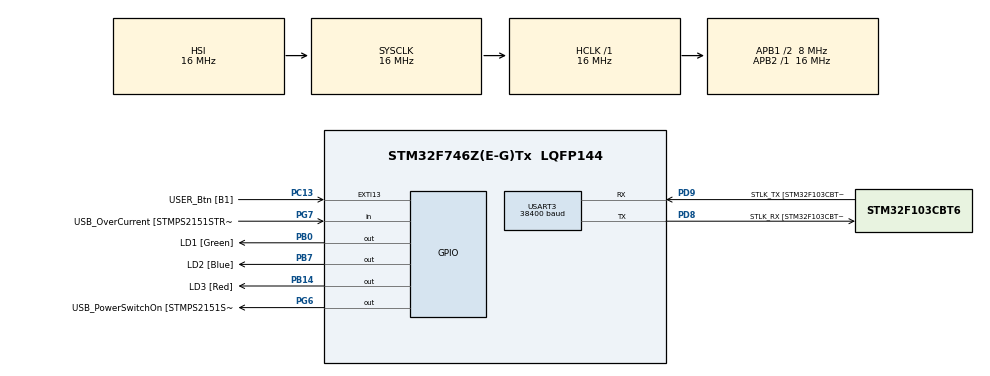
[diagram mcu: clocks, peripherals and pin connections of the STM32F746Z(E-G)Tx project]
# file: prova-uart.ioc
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Mcu.Family=STM32F7
Mcu.Name=STM32F746Z(E-G)Tx
Mcu.Package=LQFP144
NVIC.PriorityGroup=NVIC_PRIORITYGROUP_4
PA1.GPIO_Label=RMII_REF_CLK [LAN8742A-CZ-TR_REFCLK0]
PA1.Signal=ETH_REF_CLK
PA10.GPIO_Label=USB_ID
PA10.Signal=USB_OTG_FS_ID
PA11.GPIO_Label=USB_DM
PA11.Signal=USB_OTG_FS_DM
PA12.GPIO_Label=USB_DP
PA12.Signal=USB_OTG_FS_DP
PA13.GPIO_Label=TMS
PA13.Signal=SYS_JTMS-SWDIO
PA14.GPIO_Label=TCK
PA14.Signal=SYS_JTCK-SWCLK
PA2.GPIO_Label=RMII_MDIO [LAN8742A-CZ-TR_MDIO]
PA2.Signal=ETH_MDIO
PA7.GPIO_Label=RMII_CRS_DV [LAN8742A-CZ-TR_CRS_DV]
PA7.Signal=ETH_CRS_DV
PA8.GPIO_Label=USB_SOF [TP1]
PA8.Signal=USB_OTG_FS_SOF
PA9.GPIO_Label=USB_VBUS
PA9.Signal=USB_OTG_FS_VBUS
PB0.GPIO_Label=LD1 [Green]
PB0.Signal=GPIO_Output
PB13.GPIO_Label=RMII_TXD1 [LAN8742A-CZ-TR_TXD1]
PB13.Signal=ETH_TXD1
PB14.GPIO_Label=LD3 [Red]
PB14.Signal=GPIO_Output
PB3.GPIO_Label=SW0
PB3.Signal=SYS_JTDO-SWO
PB7.GPIO_Label=LD2 [Blue]
PB7.Signal=GPIO_Output
PC1.GPIO_Label=RMII_MDC [LAN8742A-CZ-TR_MDC]
PC1.Signal=ETH_MDC
PC13.GPIO_Label=USER_Btn [B1]
PC13.Signal=GPXTI13
PC14/OSC32_IN.Signal=RCC_OSC32_IN
PC15/OSC32_OUT.Signal=RCC_OSC32_OUT
PC4.GPIO_Label=RMII_RXD0 [LAN8742A-CZ-TR_RXD0]
PC4.Signal=ETH_RXD0
PC5.GPIO_Label=RMII_RXD1 [LAN8742A-CZ-TR_RXD1]
PC5.Signal=ETH_RXD1
PD8.GPIO_Label=STLK_RX [STM32F103CBT6_PA3]
PD8.Mode=Asynchronous
PD8.Signal=USART3_TX
PD9.GPIO_Label=STLK_TX [STM32F103CBT6_PA2]
PD9.Mode=Asynchronous
PD9.Signal=USART3_RX
PG11.GPIO_Label=RMII_TX_EN [LAN8742A-CZ-TR_TXEN]
PG11.Signal=ETH_TX_EN
PG13.GPIO_Label=RMII_TXD0 [LAN8742A-CZ-TR_TXD0]
PG13.Signal=ETH_TXD0
PG6.GPIO_Label=USB_PowerSwitchOn [STMPS2151STR_EN]
PG6.Signal=GPIO_Output
PG7.GPIO_Label=USB_OverCurrent [STMPS2151STR_FAULT]
PG7.Signal=GPIO_Input
PH0/OSC_IN.GPIO_Label=MCO [STM32F103CBT6_PA8]
PH0/OSC_IN.Signal=RCC_OSC_IN
PH1/OSC_OUT.Signal=RCC_OSC_OUT
ProjectManager.HeapSize=0x200
ProjectManager.StackSize=0x400
ProjectManager.TargetToolchain=MDK-ARM V5
RCC.48MHZClocksFreq_Value=24000000
RCC.AHBFreq_Value=16000000
RCC.APB1CLKDivider=RCC_HCLK_DIV2
RCC.APB1Freq_Value=8000000
RCC.APB1TimFreq_Value=16000000
RCC.APB2Freq_Value=16000000
RCC.APB2TimFreq_Value=16000000
RCC.CortexFreq_Value=16000000
RCC.HCLKFreq_Value=16000000
RCC.HSE_VALUE=8000000
RCC.HSI_VALUE=16000000
RCC.LSE_VALUE=32768
RCC.PLLMUL=RCC_PLL_MUL9
RCC.PRESCALERUSB=RCC_USBCLKSOURCE_PLL_DIV1_5
RCC.SYSCLKFreq_VALUE=16000000
RCC.SYSCLKSourceVirtual=RCC_SYSCLKSOURCE_PLLCLK
RCC.USBFreq_Value=96000000
RCC.VCOOutputFreq_Value=192000000
USART3.BaudRate=38400
USART3.VirtualMode-Asynchronous=VM_ASYNC
USART3.WordLength=WORDLENGTH_8B
board=NUCLEO-F746ZG

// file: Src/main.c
/**
  ******************************************************************************
  * File Name          : main.c
  * Description        : Main program body
  ******************************************************************************
  *
  * COPYRIGHT(c) 2017 STMicroelectronics
  *
  * Redistribution and use in source and binary forms, with or without modification,
  * are permitted provided that the following conditions are met:
  *   1. Redistributions of source code must retain the above copyright notice,
  *      this list of conditions and the following disclaimer.
  *   2. Redistributions in binary form must reproduce the above copyright notice,
  *      this list of conditions and the following disclaimer in the documentation
  *      and/or other materials provided with the distribution.
  *   3. Neither the name of STMicroelectronics nor the names of its contributors
  *      may be used to endorse or promote products derived from this software
  *      without specific prior written permission.
  *
  * THIS SOFTWARE IS PROVIDED BY THE COPYRIGHT HOLDERS AND CONTRIBUTORS "AS IS"
  * AND ANY EXPRESS OR IMPLIED WARRANTIES, INCLUDING, BUT NOT LIMITED TO, THE
  * IMPLIED WARRANTIES OF MERCHANTABILITY AND FITNESS FOR A PARTICULAR PURPOSE ARE
  * DISCLAIMED. IN NO EVENT SHALL THE COPYRIGHT HOLDER OR CONTRIBUTORS BE LIABLE
  * FOR ANY DIRECT, INDIRECT, INCIDENTAL, SPECIAL, EXEMPLARY, OR CONSEQUENTIAL
  * DAMAGES (INCLUDING, BUT NOT LIMITED TO, PROCUREMENT OF SUBSTITUTE GOODS OR
  * SERVICES; LOSS OF USE, DATA, OR PROFITS; OR BUSINESS INTERRUPTION) HOWEVER
  * CAUSED AND ON ANY THEORY OF LIABILITY, WHETHER IN CONTRACT, STRICT LIABILITY,
  * OR TORT (INCLUDING NEGLIGENCE OR OTHERWISE) ARISING IN ANY WAY OUT OF THE USE
  * OF THIS SOFTWARE, EVEN IF ADVISED OF THE POSSIBILITY OF SUCH DAMAGE.
  *
  ******************************************************************************
  */
#include "main.h"
#include "stm32f7xx_hal.h"

/* USER CODE BEGIN Includes */
#include <string.h>
#include <stdlib.h>
/* USER CODE END Includes */

UART_HandleTypeDef huart3;

/* USER CODE BEGIN PV */
/* Private variables ---------------------------------------------------------*/

/* USER CODE END PV */

void SystemClock_Config(void);
void Error_Handler(void);
static void MX_GPIO_Init(void);
static void MX_USART3_UART_Init(void);

/* USER CODE BEGIN PFP */
/* Private function prototypes -----------------------------------------------*/
void printWelcomeMessage(void);
uint8_t processUserInput(uint8_t opt);
uint8_t readUserInput(void);

/* USER CODE END PFP */

int main(void)
{

  /* USER CODE BEGIN 1 */
  uint8_t opt = 0;

  /* USER CODE END 1 */

  /* MCU Configuration----------------------------------------------------------*/

  /* Reset of all peripherals, Initializes the Flash interface and the Systick. */
  HAL_Init();

  /* Configure the system clock */
  SystemClock_Config();

  /* Initialize all configured peripherals */
  MX_GPIO_Init();
  MX_USART3_UART_Init();

  /* USER CODE BEGIN 2 */
printMessage:
  printWelcomeMessage();
  /* USER CODE END 2 */

  /* Infinite loop */
  /* USER CODE BEGIN WHILE */
  while (1)
  {
    opt = readUserInput();
    processUserInput(opt);
    if(opt == 3)
      goto printMessage;
  /* USER CODE END WHILE */

  }

}

/** System Clock Configuration
*/
void SystemClock_Config(void)
{

  RCC_OscInitTypeDef RCC_OscInitStruct;
  RCC_ClkInitTypeDef RCC_ClkInitStruct;
  RCC_PeriphCLKInitTypeDef PeriphClkInitStruct;

    /**Configure the main internal regulator output voltage
    */
  __HAL_RCC_PWR_CLK_ENABLE();

  __HAL_PWR_VOLTAGESCALING_CONFIG(PWR_REGULATOR_VOLTAGE_SCALE3);

    /**Initializes the CPU, AHB and APB busses clocks
    */
  RCC_OscInitStruct.OscillatorType = RCC_OSCILLATORTYPE_HSI;
  RCC_OscInitStruct.HSIState = RCC_HSI_ON;
  RCC_OscInitStruct.HSICalibrationValue = 16;
  RCC_OscInitStruct.PLL.PLLState = RCC_PLL_NONE;
  if (HAL_RCC_OscConfig(&RCC_OscInitStruct) != HAL_OK)
  {
    Error_Handler();
  }

    /**Initializes the CPU, AHB and APB busses clocks
    */
  RCC_ClkInitStruct.ClockType = RCC_CLOCKTYPE_HCLK|RCC_CLOCKTYPE_SYSCLK
                              |RCC_CLOCKTYPE_PCLK1|RCC_CLOCKTYPE_PCLK2;
  RCC_ClkInitStruct.SYSCLKSource = RCC_SYSCLKSOURCE_HSI;
  RCC_ClkInitStruct.AHBCLKDivider = RCC_SYSCLK_DIV1;
  RCC_ClkInitStruct.APB1CLKDivider = RCC_HCLK_DIV2;
  RCC_ClkInitStruct.APB2CLKDivider = RCC_HCLK_DIV1;

  if (HAL_RCC_ClockConfig(&RCC_ClkInitStruct, FLASH_LATENCY_0) != HAL_OK)
  {
    Error_Handler();
  }

  PeriphClkInitStruct.PeriphClockSelection = RCC_PERIPHCLK_USART3;
  PeriphClkInitStruct.Usart3ClockSelection = RCC_USART3CLKSOURCE_PCLK1;
  if (HAL_RCCEx_PeriphCLKConfig(&PeriphClkInitStruct) != HAL_OK)
  {
    Error_Handler();
  }

    /**Configure the Systick interrupt time
    */
  HAL_SYSTICK_Config(HAL_RCC_GetHCLKFreq()/1000);

    /**Configure the Systick
    */
  HAL_SYSTICK_CLKSourceConfig(SYSTICK_CLKSOURCE_HCLK);

  /* SysTick_IRQn interrupt configuration */
  HAL_NVIC_SetPriority(SysTick_IRQn, 0, 0);
}

/* USART3 init function */
static void MX_USART3_UART_Init(void)
{

  huart3.Instance = USART3;
  huart3.Init.BaudRate = 38400;
  huart3.Init.WordLength = UART_WORDLENGTH_8B;
  huart3.Init.StopBits = UART_STOPBITS_1;
  huart3.Init.Parity = UART_PARITY_NONE;
  huart3.Init.Mode = UART_MODE_TX_RX;
  huart3.Init.HwFlowCtl = UART_HWCONTROL_NONE;
  huart3.Init.OverSampling = UART_OVERSAMPLING_16;
  huart3.Init.OneBitSampling = UART_ONE_BIT_SAMPLE_DISABLE;
  huart3.AdvancedInit.AdvFeatureInit = UART_ADVFEATURE_NO_INIT;
  if (HAL_UART_Init(&huart3) != HAL_OK)
  {
    Error_Handler();
  }

}

/** Configure pins as
        * Analog
        * Input
        * Output
        * EVENT_OUT
        * EXTI
     PC1   ------> ETH_MDC
     PA1   ------> ETH_REF_CLK
     PA2   ------> ETH_MDIO
     PA7   ------> ETH_CRS_DV
     PC4   ------> ETH_RXD0
     PC5   ------> ETH_RXD1
     PB13   ------> ETH_TXD1
     PA8   ------> USB_OTG_FS_SOF
     PA9   ------> USB_OTG_FS_VBUS
     PA10   ------> USB_OTG_FS_ID
     PA11   ------> USB_OTG_FS_DM
     PA12   ------> USB_OTG_FS_DP
     PG11   ------> ETH_TX_EN
     PG13   ------> ETH_TXD0
*/
static void MX_GPIO_Init(void)
{

  GPIO_InitTypeDef GPIO_InitStruct;

  /* GPIO Ports Clock Enable */
  __HAL_RCC_GPIOC_CLK_ENABLE();
  __HAL_RCC_GPIOH_CLK_ENABLE();
  __HAL_RCC_GPIOA_CLK_ENABLE();
  __HAL_RCC_GPIOB_CLK_ENABLE();
  __HAL_RCC_GPIOD_CLK_ENABLE();
  __HAL_RCC_GPIOG_CLK_ENABLE();

  /*Configure GPIO pin Output Level */
  HAL_GPIO_WritePin(GPIOB, LD1_Pin|LD3_Pin|LD2_Pin, GPIO_PIN_RESET);

  /*Configure GPIO pin Output Level */
  HAL_GPIO_WritePin(USB_PowerSwitchOn_GPIO_Port, USB_PowerSwitchOn_Pin, GPIO_PIN_RESET);

  /*Configure GPIO pin : USER_Btn_Pin */
  GPIO_InitStruct.Pin = USER_Btn_Pin;
  GPIO_InitStruct.Mode = GPIO_MODE_IT_RISING;
  GPIO_InitStruct.Pull = GPIO_NOPULL;
  HAL_GPIO_Init(USER_Btn_GPIO_Port, &GPIO_InitStruct);

  /*Configure GPIO pins : RMII_MDC_Pin RMII_RXD0_Pin RMII_RXD1_Pin */
  GPIO_InitStruct.Pin = RMII_MDC_Pin|RMII_RXD0_Pin|RMII_RXD1_Pin;
  GPIO_InitStruct.Mode = GPIO_MODE_AF_PP;
  GPIO_InitStruct.Pull = GPIO_NOPULL;
  GPIO_InitStruct.Speed = GPIO_SPEED_FREQ_VERY_HIGH;
  GPIO_InitStruct.Alternate = GPIO_AF11_ETH;
  HAL_GPIO_Init(GPIOC, &GPIO_InitStruct);

  /*Configure GPIO pins : RMII_REF_CLK_Pin RMII_MDIO_Pin RMII_CRS_DV_Pin */
  GPIO_InitStruct.Pin = RMII_REF_CLK_Pin|RMII_MDIO_Pin|RMII_CRS_DV_Pin;
  GPIO_InitStruct.Mode = GPIO_MODE_AF_PP;
  GPIO_InitStruct.Pull = GPIO_NOPULL;
  GPIO_InitStruct.Speed = GPIO_SPEED_FREQ_VERY_HIGH;
  GPIO_InitStruct.Alternate = GPIO_AF11_ETH;
  HAL_GPIO_Init(GPIOA, &GPIO_InitStruct);

  /*Configure GPIO pins : LD1_Pin LD3_Pin LD2_Pin */
  GPIO_InitStruct.Pin = LD1_Pin|LD3_Pin|LD2_Pin;
  GPIO_InitStruct.Mode = GPIO_MODE_OUTPUT_PP;
  GPIO_InitStruct.Pull = GPIO_NOPULL;
  GPIO_InitStruct.Speed = GPIO_SPEED_FREQ_LOW;
  HAL_GPIO_Init(GPIOB, &GPIO_InitStruct);

  /*Configure GPIO pin : RMII_TXD1_Pin */
  GPIO_InitStruct.Pin = RMII_TXD1_Pin;
  GPIO_InitStruct.Mode = GPIO_MODE_AF_PP;
  GPIO_InitStruct.Pull = GPIO_NOPULL;
  GPIO_InitStruct.Speed = GPIO_SPEED_FREQ_VERY_HIGH;
  GPIO_InitStruct.Alternate = GPIO_AF11_ETH;
  HAL_GPIO_Init(RMII_TXD1_GPIO_Port, &GPIO_InitStruct);

  /*Configure GPIO pin : USB_PowerSwitchOn_Pin */
  GPIO_InitStruct.Pin = USB_PowerSwitchOn_Pin;
  GPIO_InitStruct.Mode = GPIO_MODE_OUTPUT_PP;
  GPIO_InitStruct.Pull = GPIO_NOPULL;
  GPIO_InitStruct.Speed = GPIO_SPEED_FREQ_LOW;
  HAL_GPIO_Init(USB_PowerSwitchOn_GPIO_Port, &GPIO_InitStruct);

  /*Configure GPIO pin : USB_OverCurrent_Pin */
  GPIO_InitStruct.Pin = USB_OverCurrent_Pin;
  GPIO_InitStruct.Mode = GPIO_MODE_INPUT;
  GPIO_InitStruct.Pull = GPIO_NOPULL;
  HAL_GPIO_Init(USB_OverCurrent_GPIO_Port, &GPIO_InitStruct);

  /*Configure GPIO pins : USB_SOF_Pin USB_ID_Pin USB_DM_Pin USB_DP_Pin */
  GPIO_InitStruct.Pin = USB_SOF_Pin|USB_ID_Pin|USB_DM_Pin|USB_DP_Pin;
  GPIO_InitStruct.Mode = GPIO_MODE_AF_PP;
  GPIO_InitStruct.Pull = GPIO_NOPULL;
  GPIO_InitStruct.Speed = GPIO_SPEED_FREQ_VERY_HIGH;
  GPIO_InitStruct.Alternate = GPIO_AF10_OTG_FS;
  HAL_GPIO_Init(GPIOA, &GPIO_InitStruct);

  /*Configure GPIO pin : USB_VBUS_Pin */
  GPIO_InitStruct.Pin = USB_VBUS_Pin;
  GPIO_InitStruct.Mode = GPIO_MODE_INPUT;
  GPIO_InitStruct.Pull = GPIO_NOPULL;
  HAL_GPIO_Init(USB_VBUS_GPIO_Port, &GPIO_InitStruct);

  /*Configure GPIO pins : RMII_TX_EN_Pin RMII_TXD0_Pin */
  GPIO_InitStruct.Pin = RMII_TX_EN_Pin|RMII_TXD0_Pin;
  GPIO_InitStruct.Mode = GPIO_MODE_AF_PP;
  GPIO_InitStruct.Pull = GPIO_NOPULL;
  GPIO_InitStruct.Speed = GPIO_SPEED_FREQ_VERY_HIGH;
  GPIO_InitStruct.Alternate = GPIO_AF11_ETH;
  HAL_GPIO_Init(GPIOG, &GPIO_InitStruct);

}

/* USER CODE BEGIN 4 */

void printWelcomeMessage(void) {
  HAL_UART_Transmit(&huart3, (uint8_t*)"\033[0;0H", strlen("\033[0;0H"), HAL_MAX_DELAY);
  HAL_UART_Transmit(&huart3, (uint8_t*)"\033[2J", strlen("\033[2J"), HAL_MAX_DELAY);
  HAL_UART_Transmit(&huart3, (uint8_t*)WELCOME_MSG, strlen(WELCOME_MSG), HAL_MAX_DELAY);
  HAL_UART_Transmit(&huart3, (uint8_t*)MAIN_MENU, strlen(MAIN_MENU), HAL_MAX_DELAY);
}

uint8_t readUserInput(void) {
  char readBuf[1];

  HAL_UART_Transmit(&huart3, (uint8_t*)PROMPT, strlen(PROMPT), HAL_MAX_DELAY);
  HAL_UART_Receive(&huart3, (uint8_t*)readBuf, 1, HAL_MAX_DELAY);
  return atoi(readBuf);
}

uint8_t processUserInput(uint8_t opt) {
  char msg[30];

  if(!opt || opt > 3)
    return 0;

  sprintf(msg, "%d", opt);
  HAL_UART_Transmit(&huart3, (uint8_t*)msg, strlen(msg), HAL_MAX_DELAY);

  switch(opt) {
    case 1:
      HAL_GPIO_TogglePin(LD1_GPIO_Port, LD1_Pin);
      break;
    case 2:
      sprintf(msg, "\r\nUSER BUTTON status: %s", HAL_GPIO_ReadPin(GPIOC, GPIO_PIN_13) == GPIO_PIN_SET ? "PRESSED" : "RELEASED");
      HAL_UART_Transmit(&huart3, (uint8_t*)msg, strlen(msg), HAL_MAX_DELAY);
      break;
    case 3:
      return 2;
  };

  return 1;
}

/* USER CODE END 4 */

void Error_Handler(void)
{
  while(1)
  {
  }
}

/************************ (C) COPYRIGHT STMicroelectronics *****END OF FILE****/
